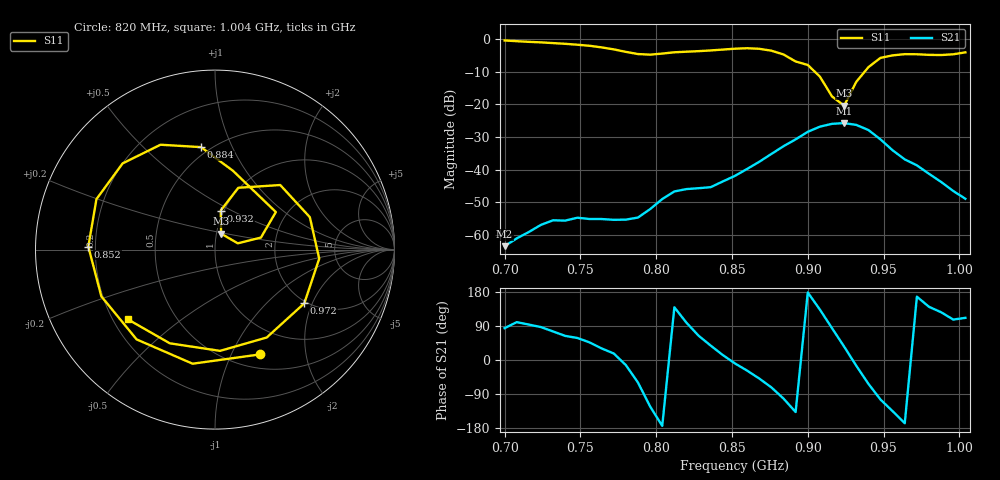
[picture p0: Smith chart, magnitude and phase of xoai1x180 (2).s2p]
# Hz S RI R 50
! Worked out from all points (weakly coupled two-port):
!   39 points, 700 MHz to 1.004 GHz, reference 50 ohm
!   highest |S21| = -25.76 dB at 924 MHz (marker M1); lowest = -63.4 dB at 700 MHz (marker M2)
!   lowest |S11| = -20.4 dB at 924 MHz (marker M3), VSWR 1.21, Z = 52.7 + j9.46 ohm
!   |S11| at or under -10 dB: 904.5 MHz to 937.6 MHz (33.13 MHz wide, 3.6 % of centre)
!   S12 and S22 are empty: the file has one direction only
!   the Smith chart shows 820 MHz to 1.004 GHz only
!   S11 on the Smith chart (normalised r, x): 820 MHz: 0.66, -1.29; 852 MHz: 0.17, +0.01; 884 MHz: 0.45, +0.77; 932 MHz: 0.97, +0.44; 972 MHz: 1.94, -1.75; 1.004 GHz: 0.26, -0.33
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7e8  0.766 0.5508  7.02e-05 0.000675  0 0  0 0
7.24e8  0.8445 -0.2542  7.9e-05 0.00143  0 0  0 0
7.4e8  0.4549 -0.7045  0.000741 0.00149  0 0  0 0
7.56e8  -0.1969 -0.7574  0.00121 0.00128  0 0  0 0
7.72e8  -0.6638 -0.1868  0.00164 0.000507  0 0  0 0
7.8e8  -0.5855 0.2366  0.00168 -0.000402  0 0  0 0
7.96e8  0.263 0.5089  -0.00135 -0.0021  0 0  0 0
8.04e8  0.5758 0.1474  -0.00354 -0.000377  0 0  0 0
8.2e8  0.249 -0.5841  -0.000728 0.005  0 0  0 0
8.36e8  -0.4368 -0.5003  0.00427 0.00332  0 0  0 0
8.52e8  -0.7058 0.0164  0.00795 -0.00128  0 0  0 0
8.68e8  -0.5145 0.4804  0.00868 -0.00995  0 0  0 0
8.84e8  -0.078 0.5709  -0.00466 -0.0224  0 0  0 0
9e8  0.3391 0.2093  -0.0379 0.0012  0 0  0 0
9.08e8  0.2559 0.067  -0.031 0.0332  0 0  0 0
9.24e8  0.0341 0.089  0.042 0.0298  0 0  0 0
9.32e8  0.0317 0.2175  0.0467 -0.0126  0 0  0 0
9.48e8  0.3635 0.3598  -0.00722 -0.0281  0 0  0 0
9.56e8  0.5284 0.1807  -0.014 -0.014  0 0  0 0
9.72e8  0.4973 -0.2996  -0.0114 0.0026  0 0  0 0
9.88e8  0.0281 -0.5642  -0.00382 0.00525  0 0  0 0
1.004e9  -0.4848 -0.3889  -0.0013 0.00335  0 0  0 0
